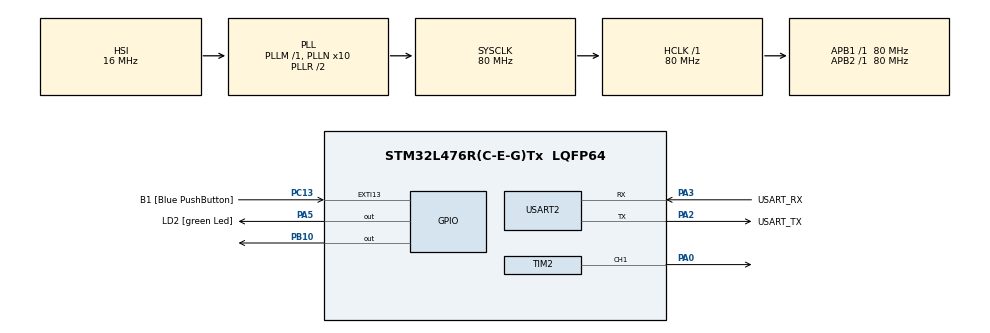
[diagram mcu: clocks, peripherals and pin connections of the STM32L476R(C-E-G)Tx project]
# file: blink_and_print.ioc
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Mcu.Family=STM32L4
Mcu.Name=STM32L476R(C-E-G)Tx
Mcu.Package=LQFP64
NVIC.PriorityGroup=NVIC_PRIORITYGROUP_4
PA0.Signal=S_TIM2_CH1
PA13\ (JTMS-SWDIO).GPIO_Label=TMS
PA13\ (JTMS-SWDIO).Mode=Serial_Wire
PA13\ (JTMS-SWDIO).Signal=SYS_JTMS-SWDIO
PA14\ (JTCK-SWCLK).GPIO_Label=TCK
PA14\ (JTCK-SWCLK).Mode=Serial_Wire
PA14\ (JTCK-SWCLK).Signal=SYS_JTCK-SWCLK
PA2.GPIO_Label=USART_TX
PA2.GPIO_Mode=GPIO_MODE_AF_PP
PA2.GPIO_PuPd=GPIO_NOPULL
PA2.GPIO_Speed=GPIO_SPEED_FREQ_VERY_HIGH
PA2.Mode=Asynchronous
PA2.Signal=USART2_TX
PA3.GPIO_Label=USART_RX
PA3.GPIO_Mode=GPIO_MODE_AF_PP
PA3.GPIO_PuPd=GPIO_NOPULL
PA3.GPIO_Speed=GPIO_SPEED_FREQ_VERY_HIGH
PA3.Mode=Asynchronous
PA3.Signal=USART2_RX
PA5.GPIO_Label=LD2 [green Led]
PA5.GPIO_ModeDefaultOutputPP=GPIO_MODE_OUTPUT_PP
PA5.GPIO_PuPd=GPIO_NOPULL
PA5.GPIO_Speed=GPIO_SPEED_FREQ_LOW
PA5.Signal=GPIO_Output
PB10.Signal=GPIO_Output
PB3\ (JTDO-TRACESWO).GPIO_Label=SWO
PB3\ (JTDO-TRACESWO).Signal=SYS_JTDO-SWO
PC13.GPIO_Label=B1 [Blue PushButton]
PC13.GPIO_ModeDefaultEXTI=GPIO_MODE_IT_FALLING
PC13.GPIO_PuPd=GPIO_NOPULL
PC13.Signal=GPXTI13
PC14-OSC32_IN\ (PC14).Mode=LSE-External-Oscillator
PC14-OSC32_IN\ (PC14).Signal=RCC_OSC32_IN
PC15-OSC32_OUT\ (PC15).Mode=LSE-External-Oscillator
PC15-OSC32_OUT\ (PC15).Signal=RCC_OSC32_OUT
PH0-OSC_IN\ (PH0).Signal=RCC_OSC_IN
PH1-OSC_OUT\ (PH1).Signal=RCC_OSC_OUT
ProjectManager.HeapSize=0x200
ProjectManager.StackSize=0x400
ProjectManager.TargetToolchain=CMake
RCC.ADCFreq_Value=64000000
RCC.AHBFreq_Value=80000000
RCC.APB1Freq_Value=80000000
RCC.APB1TimFreq_Value=80000000
RCC.APB2Freq_Value=80000000
RCC.APB2TimFreq_Value=80000000
RCC.CortexFreq_Value=80000000
RCC.HCLKFreq_Value=80000000
RCC.HSE_VALUE=8000000
RCC.HSI_VALUE=16000000
RCC.MSI_VALUE=4000000
RCC.PLLN=10
RCC.PLLSourceVirtual=RCC_PLLSOURCE_HSI
RCC.PREFETCH_ENABLE=1
RCC.SYSCLKFreq_VALUE=80000000
RCC.SYSCLKSource=RCC_SYSCLKSOURCE_PLLCLK
RCC.USBFreq_Value=64000000
RCC.VCOOutputFreq_Value=160000000
SH.S_TIM2_CH1.0=TIM2_CH1,PWM Generation1 CH1
TIM2.AutoReloadPreload=TIM_AUTORELOAD_PRELOAD_ENABLE
TIM2.Channel-PWM\ Generation1\ CH1=TIM_CHANNEL_1
TIM2.Period=255
TIM2.Prescaler=79
TIM2.Pulse-PWM\ Generation1\ CH1=75
USART2.VirtualMode-Asynchronous=VM_ASYNC
VP_TIM2_VS_ClockSourceINT.Mode=Internal
board=NUCLEO-L476RG

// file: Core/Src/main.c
/* USER CODE BEGIN Header */
/**
  ******************************************************************************
  * @file           : main.c
  * @brief          : Main program body
  ******************************************************************************
  * @attention
  *
  * Copyright (c) 2026 STMicroelectronics.
  * All rights reserved.
  *
  * This software is licensed under terms that can be found in the LICENSE file
  * in the root directory of this software component.
  * If no LICENSE file comes with this software, it is provided AS-IS.
  *
  ******************************************************************************
  */
/* USER CODE END Header */
#include "main.h"

/* USER CODE BEGIN Includes */
#include "stdio.h"
#include "stm32l476xx.h"
#include "stm32l4xx_hal.h"
#include "stm32l4xx_hal_def.h"
#include "stm32l4xx_hal_gpio.h"
#include "stm32l4xx_hal_tim.h"

/* USER CODE END Includes */

TIM_HandleTypeDef htim2;

UART_HandleTypeDef huart2;

void SystemClock_Config(void);
static void MX_GPIO_Init(void);
static void MX_USART2_UART_Init(void);
static void MX_TIM2_Init(void);

/* USER CODE BEGIN 0 */
int __io_putchar(int ch) {
    HAL_UART_Transmit(&huart2, (uint8_t *)&ch, 1, HAL_MAX_DELAY);
    return ch;
}

/* USER CODE END 0 */

int main(void)
{

  /* MCU Configuration--------------------------------------------------------*/

  /* Reset of all peripherals, Initializes the Flash interface and the Systick. */
  HAL_Init();

  /* Configure the system clock */
  SystemClock_Config();

  /* Initialize all configured peripherals */
  MX_GPIO_Init();
  MX_USART2_UART_Init();
  MX_TIM2_Init();
  /* USER CODE BEGIN 2 */
  HAL_GPIO_WritePin(GPIOA, GPIO_PIN_5, GPIO_PIN_SET);

  HAL_TIM_PWM_Start(&htim2, TIM_CHANNEL_1);
  /* USER CODE END 2 */

  /* Infinite loop */
  /* USER CODE BEGIN WHILE */
  while (1)
  {
    HAL_GPIO_WritePin(GPIOB, GPIO_PIN_10, GPIO_PIN_SET);
    __HAL_TIM_SET_COMPARE(&htim2, TIM_CHANNEL_1, 75);
    HAL_Delay(1000);

    // htim2.Instance->CCR1 = 127;
    // // CCR1 corresponds to Channel 1
    // For direction register access rather than HAL macro
    // AI asked if I wanted to learning how to create my own custom macro for "SET_MOTOR_SPEED(x)"

    // this is a test comment for git

    __HAL_TIM_SET_COMPARE(&htim2, TIM_CHANNEL_1, 0);
    HAL_Delay(1000);

    HAL_GPIO_WritePin(GPIOB, GPIO_PIN_10, GPIO_PIN_RESET);
    __HAL_TIM_SET_COMPARE(&htim2, TIM_CHANNEL_1, 75);
    HAL_Delay(1000);

    __HAL_TIM_SET_COMPARE(&htim2, TIM_CHANNEL_1, 0);
    HAL_Delay(1000);

    /* USER CODE END WHILE */

  }
}

void SystemClock_Config(void)
{
  RCC_OscInitTypeDef RCC_OscInitStruct = {0};
  RCC_ClkInitTypeDef RCC_ClkInitStruct = {0};

  /** Configure the main internal regulator output voltage
  */
  if (HAL_PWREx_ControlVoltageScaling(PWR_REGULATOR_VOLTAGE_SCALE1) != HAL_OK)
  {
    Error_Handler();
  }

  /** Initializes the RCC Oscillators according to the specified parameters
  * in the RCC_OscInitTypeDef structure.
  */
  RCC_OscInitStruct.OscillatorType = RCC_OSCILLATORTYPE_HSI;
  RCC_OscInitStruct.HSIState = RCC_HSI_ON;
  RCC_OscInitStruct.HSICalibrationValue = RCC_HSICALIBRATION_DEFAULT;
  RCC_OscInitStruct.PLL.PLLState = RCC_PLL_ON;
  RCC_OscInitStruct.PLL.PLLSource = RCC_PLLSOURCE_HSI;
  RCC_OscInitStruct.PLL.PLLM = 1;
  RCC_OscInitStruct.PLL.PLLN = 10;
  RCC_OscInitStruct.PLL.PLLP = RCC_PLLP_DIV7;
  RCC_OscInitStruct.PLL.PLLQ = RCC_PLLQ_DIV2;
  RCC_OscInitStruct.PLL.PLLR = RCC_PLLR_DIV2;
  if (HAL_RCC_OscConfig(&RCC_OscInitStruct) != HAL_OK)
  {
    Error_Handler();
  }

  /** Initializes the CPU, AHB and APB buses clocks
  */
  RCC_ClkInitStruct.ClockType = RCC_CLOCKTYPE_HCLK|RCC_CLOCKTYPE_SYSCLK
                              |RCC_CLOCKTYPE_PCLK1|RCC_CLOCKTYPE_PCLK2;
  RCC_ClkInitStruct.SYSCLKSource = RCC_SYSCLKSOURCE_PLLCLK;
  RCC_ClkInitStruct.AHBCLKDivider = RCC_SYSCLK_DIV1;
  RCC_ClkInitStruct.APB1CLKDivider = RCC_HCLK_DIV1;
  RCC_ClkInitStruct.APB2CLKDivider = RCC_HCLK_DIV1;

  if (HAL_RCC_ClockConfig(&RCC_ClkInitStruct, FLASH_LATENCY_4) != HAL_OK)
  {
    Error_Handler();
  }
}

static void MX_TIM2_Init(void)
{

  TIM_ClockConfigTypeDef sClockSourceConfig = {0};
  TIM_MasterConfigTypeDef sMasterConfig = {0};
  TIM_OC_InitTypeDef sConfigOC = {0};

  htim2.Instance = TIM2;
  htim2.Init.Prescaler = 79;
  htim2.Init.CounterMode = TIM_COUNTERMODE_UP;
  htim2.Init.Period = 255;
  htim2.Init.ClockDivision = TIM_CLOCKDIVISION_DIV1;
  htim2.Init.AutoReloadPreload = TIM_AUTORELOAD_PRELOAD_ENABLE;
  if (HAL_TIM_Base_Init(&htim2) != HAL_OK)
  {
    Error_Handler();
  }
  sClockSourceConfig.ClockSource = TIM_CLOCKSOURCE_INTERNAL;
  if (HAL_TIM_ConfigClockSource(&htim2, &sClockSourceConfig) != HAL_OK)
  {
    Error_Handler();
  }
  if (HAL_TIM_PWM_Init(&htim2) != HAL_OK)
  {
    Error_Handler();
  }
  sMasterConfig.MasterOutputTrigger = TIM_TRGO_RESET;
  sMasterConfig.MasterSlaveMode = TIM_MASTERSLAVEMODE_DISABLE;
  if (HAL_TIMEx_MasterConfigSynchronization(&htim2, &sMasterConfig) != HAL_OK)
  {
    Error_Handler();
  }
  sConfigOC.OCMode = TIM_OCMODE_PWM1;
  sConfigOC.Pulse = 75;
  sConfigOC.OCPolarity = TIM_OCPOLARITY_HIGH;
  sConfigOC.OCFastMode = TIM_OCFAST_DISABLE;
  if (HAL_TIM_PWM_ConfigChannel(&htim2, &sConfigOC, TIM_CHANNEL_1) != HAL_OK)
  {
    Error_Handler();
  }
  HAL_TIM_MspPostInit(&htim2);

}

static void MX_USART2_UART_Init(void)
{

  huart2.Instance = USART2;
  huart2.Init.BaudRate = 115200;
  huart2.Init.WordLength = UART_WORDLENGTH_8B;
  huart2.Init.StopBits = UART_STOPBITS_1;
  huart2.Init.Parity = UART_PARITY_NONE;
  huart2.Init.Mode = UART_MODE_TX_RX;
  huart2.Init.HwFlowCtl = UART_HWCONTROL_NONE;
  huart2.Init.OverSampling = UART_OVERSAMPLING_16;
  huart2.Init.OneBitSampling = UART_ONE_BIT_SAMPLE_DISABLE;
  huart2.AdvancedInit.AdvFeatureInit = UART_ADVFEATURE_NO_INIT;
  if (HAL_UART_Init(&huart2) != HAL_OK)
  {
    Error_Handler();
  }

}

static void MX_GPIO_Init(void)
{
  GPIO_InitTypeDef GPIO_InitStruct = {0};

  /* GPIO Ports Clock Enable */
  __HAL_RCC_GPIOC_CLK_ENABLE();
  __HAL_RCC_GPIOH_CLK_ENABLE();
  __HAL_RCC_GPIOA_CLK_ENABLE();
  __HAL_RCC_GPIOB_CLK_ENABLE();

  /*Configure GPIO pin Output Level */
  HAL_GPIO_WritePin(LD2_GPIO_Port, LD2_Pin, GPIO_PIN_RESET);

  /*Configure GPIO pin Output Level */
  HAL_GPIO_WritePin(GPIOB, GPIO_PIN_10, GPIO_PIN_RESET);

  /*Configure GPIO pin : B1_Pin */
  GPIO_InitStruct.Pin = B1_Pin;
  GPIO_InitStruct.Mode = GPIO_MODE_IT_FALLING;
  GPIO_InitStruct.Pull = GPIO_NOPULL;
  HAL_GPIO_Init(B1_GPIO_Port, &GPIO_InitStruct);

  /*Configure GPIO pin : LD2_Pin */
  GPIO_InitStruct.Pin = LD2_Pin;
  GPIO_InitStruct.Mode = GPIO_MODE_OUTPUT_PP;
  GPIO_InitStruct.Pull = GPIO_NOPULL;
  GPIO_InitStruct.Speed = GPIO_SPEED_FREQ_LOW;
  HAL_GPIO_Init(LD2_GPIO_Port, &GPIO_InitStruct);

  /*Configure GPIO pin : PB10 */
  GPIO_InitStruct.Pin = GPIO_PIN_10;
  GPIO_InitStruct.Mode = GPIO_MODE_OUTPUT_PP;
  GPIO_InitStruct.Pull = GPIO_NOPULL;
  GPIO_InitStruct.Speed = GPIO_SPEED_FREQ_LOW;
  HAL_GPIO_Init(GPIOB, &GPIO_InitStruct);

}

void Error_Handler(void)
{
  __disable_irq();
  while (1)
  {
  }
}
